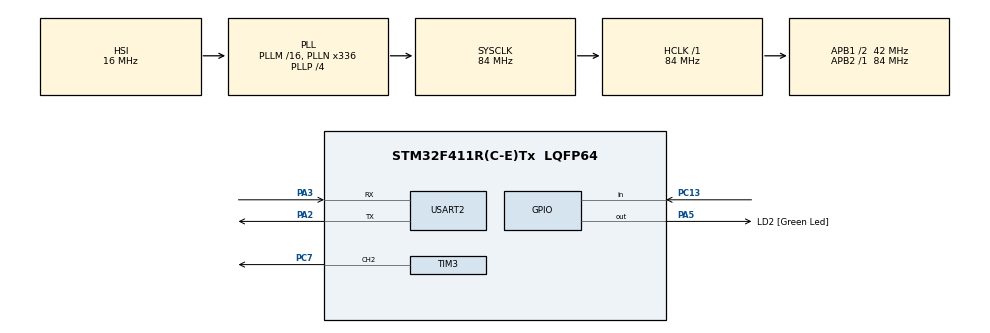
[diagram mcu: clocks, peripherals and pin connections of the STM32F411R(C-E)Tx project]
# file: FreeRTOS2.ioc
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FREERTOS.INCLUDE_vTaskDelayUntil=1
FREERTOS.Tasks01=defaultTask,0,128,StartDefaultTask,Default
Mcu.Family=STM32F4
Mcu.Name=STM32F411R(C-E)Tx
Mcu.Package=LQFP64
NVIC.PriorityGroup=NVIC_PRIORITYGROUP_4
PA13.GPIO_Label=TMS
PA13.Signal=SYS_JTMS-SWDIO
PA14.GPIO_Label=TCK
PA14.Signal=SYS_JTCK-SWCLK
PA2.Mode=Asynchronous
PA2.Signal=USART2_TX
PA3.Mode=Asynchronous
PA3.Signal=USART2_RX
PA5.GPIO_Label=LD2 [Green Led]
PA5.Signal=GPIO_Output
PB3.GPIO_Label=SWO
PB3.Signal=SYS_JTDO-SWO
PC13-ANTI_TAMP.GPIO_PuPd=GPIO_NOPULL
PC13-ANTI_TAMP.Signal=GPIO_Input
PC14-OSC32_IN.Signal=RCC_OSC32_IN
PC15-OSC32_OUT.Signal=RCC_OSC32_OUT
PC7.Signal=S_TIM3_CH2
PH0\ -\ OSC_IN.Signal=RCC_OSC_IN
PH1\ -\ OSC_OUT.Signal=RCC_OSC_OUT
ProjectManager.HeapSize=0x200
ProjectManager.StackSize=0x400
ProjectManager.TargetToolchain=SW4STM32
RCC.48MHZClocksFreq_Value=84000000
RCC.AHBFreq_Value=84000000
RCC.APB1CLKDivider=RCC_HCLK_DIV2
RCC.APB1Freq_Value=42000000
RCC.APB1TimFreq_Value=84000000
RCC.APB2Freq_Value=84000000
RCC.APB2TimFreq_Value=84000000
RCC.CortexFreq_Value=84000000
RCC.FLatency-AdvancedSettings=FLASH_LATENCY_2
RCC.HCLKFreq_Value=84000000
RCC.HSE_VALUE=8000000
RCC.HSI_VALUE=16000000
RCC.LSE_VALUE=32768
RCC.PLLN=336
RCC.PLLP=RCC_PLLP_DIV4
RCC.SYSCLKFreq_VALUE=84000000
RCC.SYSCLKSource=RCC_SYSCLKSOURCE_PLLCLK
RCC.VCOOutputFreq_Value=336000000
SH.S_TIM3_CH2.0=TIM3_CH2,PWM Generation2 CH2
TIM3.Channel-PWM\ Generation2\ CH2=TIM_CHANNEL_2
TIM3.Period=9
TIM3.Prescaler=8399
TIM3.Pulse-PWM\ Generation2\ CH2=5
VP_FREERTOS_VS_ENABLE.Mode=Enabled
board=NUCLEO-F411RE

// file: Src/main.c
/**
  ******************************************************************************
  * File Name          : main.c
  * Description        : Main program body
  ******************************************************************************
  *
  * COPYRIGHT(c) 2016 STMicroelectronics
  *
  * Redistribution and use in source and binary forms, with or without modification,
  * are permitted provided that the following conditions are met:
  *   1. Redistributions of source code must retain the above copyright notice,
  *      this list of conditions and the following disclaimer.
  *   2. Redistributions in binary form must reproduce the above copyright notice,
  *      this list of conditions and the following disclaimer in the documentation
  *      and/or other materials provided with the distribution.
  *   3. Neither the name of STMicroelectronics nor the names of its contributors
  *      may be used to endorse or promote products derived from this software
  *      without specific prior written permission.
  *
  * THIS SOFTWARE IS PROVIDED BY THE COPYRIGHT HOLDERS AND CONTRIBUTORS "AS IS"
  * AND ANY EXPRESS OR IMPLIED WARRANTIES, INCLUDING, BUT NOT LIMITED TO, THE
  * IMPLIED WARRANTIES OF MERCHANTABILITY AND FITNESS FOR A PARTICULAR PURPOSE ARE
  * DISCLAIMED. IN NO EVENT SHALL THE COPYRIGHT HOLDER OR CONTRIBUTORS BE LIABLE
  * FOR ANY DIRECT, INDIRECT, INCIDENTAL, SPECIAL, EXEMPLARY, OR CONSEQUENTIAL
  * DAMAGES (INCLUDING, BUT NOT LIMITED TO, PROCUREMENT OF SUBSTITUTE GOODS OR
  * SERVICES; LOSS OF USE, DATA, OR PROFITS; OR BUSINESS INTERRUPTION) HOWEVER
  * CAUSED AND ON ANY THEORY OF LIABILITY, WHETHER IN CONTRACT, STRICT LIABILITY,
  * OR TORT (INCLUDING NEGLIGENCE OR OTHERWISE) ARISING IN ANY WAY OUT OF THE USE
  * OF THIS SOFTWARE, EVEN IF ADVISED OF THE POSSIBILITY OF SUCH DAMAGE.
  *
  ******************************************************************************
  */
#include "stm32f4xx_hal.h"
#include "cmsis_os.h"

/* USER CODE BEGIN Includes */
#include <stdlib.h>
#include <string.h>
/* USER CODE END Includes */

TIM_HandleTypeDef htim3;

UART_HandleTypeDef huart2;

osThreadId defaultTaskHandle;

/* USER CODE BEGIN PV */
#define M_LOG_LENGTH        (20)
#define M_LOG_NUM           (10)
#define M_MOTOR_LENGTH      (1)   //b7...0:sw, 1:vol
#define M_MOTOR_NUM         (10)
/* Private variables ---------------------------------------------------------*/
static TaskHandle_t         mHdlPlayTask;
static xQueueHandle         mHdlLogQueue;
static TIM_OC_InitTypeDef   sConfigOC;
/* USER CODE END PV */

void SystemClock_Config(void);
void Error_Handler(void);
static void MX_GPIO_Init(void);
static void MX_USART2_UART_Init(void);
static void MX_TIM3_Init(void);
void StartDefaultTask(void const * argument);

void HAL_TIM_MspPostInit(TIM_HandleTypeDef *htim);

/* USER CODE BEGIN PFP */
/* Private function prototypes -----------------------------------------------*/
void StartUartTask(void *argument);
void StartSwTask(void *argument);
void StartPlayTask(void *argument);

/* USER CODE END PFP */

int main(void)
{

  /* MCU Configuration----------------------------------------------------------*/

  /* Reset of all peripherals, Initializes the Flash interface and the Systick. */
  HAL_Init();

  /* Configure the system clock */
  SystemClock_Config();

  /* Initialize all configured peripherals */
  MX_GPIO_Init();
  MX_USART2_UART_Init();
  MX_TIM3_Init();

  /* Create the thread(s) */
  /* definition and creation of defaultTask */
  osThreadDef(defaultTask, StartDefaultTask, osPriorityNormal, 0, 128);
  defaultTaskHandle = osThreadCreate(osThread(defaultTask), NULL);

  /* USER CODE BEGIN RTOS_THREADS */
  xTaskCreate(StartUartTask, "uartTask", 128, (void *)NULL, tskIDLE_PRIORITY, NULL);
  xTaskCreate(StartSwTask, "swTask", 128, (void *)NULL, tskIDLE_PRIORITY, NULL);
  xTaskCreate(StartPlayTask, "playTask", 128, (void *)NULL, tskIDLE_PRIORITY, &mHdlPlayTask);
  vTaskSuspend(mHdlPlayTask);
  /* USER CODE END RTOS_THREADS */

  /* USER CODE BEGIN RTOS_QUEUES */
  mHdlLogQueue = xQueueCreate(M_LOG_NUM, M_LOG_LENGTH);
  /* USER CODE END RTOS_QUEUES */

  /* Start scheduler */
  osKernelStart();

  /* We should never get here as control is now taken by the scheduler */

  /* Infinite loop */
  while (1)
  {

  }

}

/** System Clock Configuration
*/
void SystemClock_Config(void)
{

  RCC_OscInitTypeDef RCC_OscInitStruct;
  RCC_ClkInitTypeDef RCC_ClkInitStruct;

  __HAL_RCC_PWR_CLK_ENABLE();

  __HAL_PWR_VOLTAGESCALING_CONFIG(PWR_REGULATOR_VOLTAGE_SCALE1);

  RCC_OscInitStruct.OscillatorType = RCC_OSCILLATORTYPE_HSI;
  RCC_OscInitStruct.HSIState = RCC_HSI_ON;
  RCC_OscInitStruct.HSICalibrationValue = 16;
  RCC_OscInitStruct.PLL.PLLState = RCC_PLL_ON;
  RCC_OscInitStruct.PLL.PLLSource = RCC_PLLSOURCE_HSI;
  RCC_OscInitStruct.PLL.PLLM = 16;
  RCC_OscInitStruct.PLL.PLLN = 336;
  RCC_OscInitStruct.PLL.PLLP = RCC_PLLP_DIV4;
  RCC_OscInitStruct.PLL.PLLQ = 4;
  if (HAL_RCC_OscConfig(&RCC_OscInitStruct) != HAL_OK)
  {
    Error_Handler();
  }

  RCC_ClkInitStruct.ClockType = RCC_CLOCKTYPE_HCLK|RCC_CLOCKTYPE_SYSCLK
                              |RCC_CLOCKTYPE_PCLK1|RCC_CLOCKTYPE_PCLK2;
  RCC_ClkInitStruct.SYSCLKSource = RCC_SYSCLKSOURCE_PLLCLK;
  RCC_ClkInitStruct.AHBCLKDivider = RCC_SYSCLK_DIV1;
  RCC_ClkInitStruct.APB1CLKDivider = RCC_HCLK_DIV2;
  RCC_ClkInitStruct.APB2CLKDivider = RCC_HCLK_DIV1;
  if (HAL_RCC_ClockConfig(&RCC_ClkInitStruct, FLASH_LATENCY_2) != HAL_OK)
  {
    Error_Handler();
  }

  HAL_SYSTICK_Config(HAL_RCC_GetHCLKFreq()/1000);

  HAL_SYSTICK_CLKSourceConfig(SYSTICK_CLKSOURCE_HCLK);

  /* SysTick_IRQn interrupt configuration */
  HAL_NVIC_SetPriority(SysTick_IRQn, 15, 0);
}

/* TIM3 init function */
static void MX_TIM3_Init(void)
{

  TIM_MasterConfigTypeDef sMasterConfig;

  htim3.Instance = TIM3;
  htim3.Init.Prescaler = 83;
  htim3.Init.CounterMode = TIM_COUNTERMODE_UP;
  htim3.Init.Period = 999;
  htim3.Init.ClockDivision = TIM_CLOCKDIVISION_DIV1;
  if (HAL_TIM_PWM_Init(&htim3) != HAL_OK)
  {
    Error_Handler();
  }

  sMasterConfig.MasterOutputTrigger = TIM_TRGO_RESET;
  sMasterConfig.MasterSlaveMode = TIM_MASTERSLAVEMODE_DISABLE;
  if (HAL_TIMEx_MasterConfigSynchronization(&htim3, &sMasterConfig) != HAL_OK)
  {
    Error_Handler();
  }

  sConfigOC.OCMode = TIM_OCMODE_PWM1;
  sConfigOC.Pulse = 500;
  sConfigOC.OCPolarity = TIM_OCPOLARITY_HIGH;
  sConfigOC.OCFastMode = TIM_OCFAST_DISABLE;
  if (HAL_TIM_PWM_ConfigChannel(&htim3, &sConfigOC, TIM_CHANNEL_2) != HAL_OK)
  {
    Error_Handler();
  }

  HAL_TIM_MspPostInit(&htim3);

}

/* USART2 init function */
static void MX_USART2_UART_Init(void)
{

  huart2.Instance = USART2;
  huart2.Init.BaudRate = 115200;
  huart2.Init.WordLength = UART_WORDLENGTH_8B;
  huart2.Init.StopBits = UART_STOPBITS_1;
  huart2.Init.Parity = UART_PARITY_NONE;
  huart2.Init.Mode = UART_MODE_TX_RX;
  huart2.Init.HwFlowCtl = UART_HWCONTROL_NONE;
  huart2.Init.OverSampling = UART_OVERSAMPLING_16;
  if (HAL_UART_Init(&huart2) != HAL_OK)
  {
    Error_Handler();
  }

}

/** Configure pins as
        * Analog
        * Input
        * Output
        * EVENT_OUT
        * EXTI
*/
static void MX_GPIO_Init(void)
{

  GPIO_InitTypeDef GPIO_InitStruct;

  /* GPIO Ports Clock Enable */
  __HAL_RCC_GPIOC_CLK_ENABLE();
  __HAL_RCC_GPIOH_CLK_ENABLE();
  __HAL_RCC_GPIOA_CLK_ENABLE();
  __HAL_RCC_GPIOB_CLK_ENABLE();

  /*Configure GPIO pin : PC13 */
  GPIO_InitStruct.Pin = GPIO_PIN_13;
  GPIO_InitStruct.Mode = GPIO_MODE_INPUT;
  GPIO_InitStruct.Pull = GPIO_NOPULL;
  HAL_GPIO_Init(GPIOC, &GPIO_InitStruct);

  /*Configure GPIO pin : LD2_Pin */
  GPIO_InitStruct.Pin = LD2_Pin;
  GPIO_InitStruct.Mode = GPIO_MODE_OUTPUT_PP;
  GPIO_InitStruct.Pull = GPIO_NOPULL;
  GPIO_InitStruct.Speed = GPIO_SPEED_FREQ_LOW;
  HAL_GPIO_Init(LD2_GPIO_Port, &GPIO_InitStruct);

  /*Configure GPIO pin Output Level */
  HAL_GPIO_WritePin(LD2_GPIO_Port, LD2_Pin, GPIO_PIN_RESET);

}

/* USER CODE BEGIN 4 */
/* StartUartTask function */
void StartUartTask(void *argument)
{
  char  str[M_LOG_LENGTH];

  HAL_UART_Transmit(&huart2, (uint8_t *)"UART task\r\n", 11, portMAX_DELAY);

  /* Infinite loop */
  for(;;)
  {
    xQueueReceive(mHdlLogQueue, str, portMAX_DELAY);
    HAL_UART_Transmit(&huart2, (uint8_t *)str, strlen(str), portMAX_DELAY);
  }
}

/* SwTask function */
void StartSwTask(void *argument)
{
  const TickType_t xFrequency = 10;
  const int SW_SET = 5;

  TickType_t xLastWakeTime;
  GPIO_PinState prevSw1 = GPIO_PIN_RESET;
  uint8_t onoff = 0;
  int cntSw1 = 0;
  char str[M_LOG_LENGTH];

  sprintf(str, "SW task\r\n");
  xQueueSend(mHdlLogQueue, str, portMAX_DELAY);

  HAL_TIM_PWM_Stop(&htim3, TIM_CHANNEL_2);

  xLastWakeTime = xTaskGetTickCount();

  /* Infinite loop */
  for(;;)
  {
    vTaskDelayUntil(&xLastWakeTime, xFrequency);

    int chg = 0;

    //User SW
    GPIO_PinState sw1 = HAL_GPIO_ReadPin(GPIOC, GPIO_PIN_13);

    if (sw1 == GPIO_PIN_RESET) {
      if (prevSw1 == GPIO_PIN_SET) {
        cntSw1++;
        if (cntSw1 == SW_SET) {
          cntSw1 = SW_SET + 1;

          onoff ^= 1;
          chg = 1;
        }
      }
      else {
        prevSw1 = GPIO_PIN_SET;
        cntSw1 = 0;
      }
    }
    else {
      if (prevSw1 == GPIO_PIN_SET) {
        prevSw1 = GPIO_PIN_RESET;
      }
    }

    if (chg) {
      if (onoff) {
        sprintf(str, "ON\r\n");
        HAL_TIM_PWM_Start(&htim3, TIM_CHANNEL_2);
        vTaskResume(mHdlPlayTask);
      }
      else {
        sprintf(str, "OFF\r\n");
        HAL_TIM_PWM_Stop(&htim3, TIM_CHANNEL_2);
        vTaskSuspend(mHdlPlayTask);
      }
      xQueueSend(mHdlLogQueue, str, portMAX_DELAY);
    }
  }
}

static void setSound(uint16_t val)
{
    HAL_TIM_PWM_Stop(&htim3, TIM_CHANNEL_2);
    htim3.Init.Period = val - 1;
    HAL_TIM_PWM_Init(&htim3);
    sConfigOC.Pulse = val / 2;
    HAL_TIM_PWM_Start(&htim3, TIM_CHANNEL_2);
}

void StartPlayTask(void *argument)
{
  const int HZ_G5 = 1276;
  const int HZ_D6 = 851;
  const int HZ_C6S = 902;
  const int HZ_B5 = 1012;
  const struct {
    uint16_t    period;
    TickType_t  wait;
  } SOUND[] = {
    { HZ_G5, 1000 },
    { HZ_D6, 1000 },
    { HZ_C6S, 2000 },
    { HZ_G5, 1000 },
    { HZ_D6, 1000 },
    { HZ_C6S, 2000 },
    { HZ_G5, 1000 },
    { HZ_D6, 1000 },
    { HZ_C6S, 2000 },
    { HZ_B5, 500 },
    { HZ_C6S, 500 },
    { HZ_B5, 500 },
    { HZ_G5, 3000}
  };

  int period = 0;

  /* Infinite loop */
  for(;;)
  {
    setSound(SOUND[period].period);
    vTaskDelay( SOUND[period].wait / portTICK_PERIOD_MS);
    period++;
    if (period >= sizeof(SOUND) / sizeof(SOUND[0])) {
      period = 0;
    }
  }

}
/* USER CODE END 4 */

/* StartDefaultTask function */
void StartDefaultTask(void const * argument)
{

  /* USER CODE BEGIN 5 */
  /* Infinite loop */
  for(;;)
  {
    HAL_GPIO_TogglePin(LD2_GPIO_Port, LD2_Pin);
    vTaskDelay(1000 / portTICK_PERIOD_MS);
  }
  /* USER CODE END 5 */
}

void Error_Handler(void)
{
  while(1)
  {
  }
}

/************************ (C) COPYRIGHT STMicroelectronics *****END OF FILE****/
